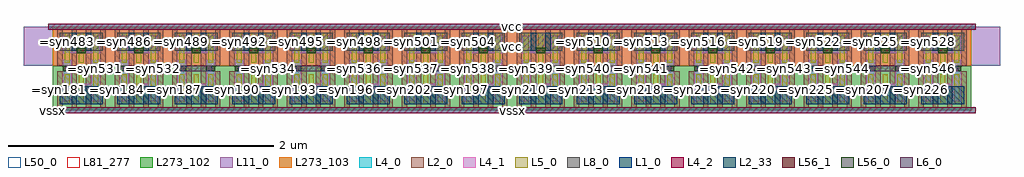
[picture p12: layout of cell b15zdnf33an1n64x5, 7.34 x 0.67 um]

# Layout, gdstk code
import gdstk
lib = gdstk.Library(unit=1e-6, precision=5e-10)
def R(c, l, rs):  # rectangles x0, y0, x1, y1
    for r in rs: c.add(gdstk.rectangle(r[:2], r[2:], *l))
def A(c, l, x, y, w, h, nx, ny, dx, dy):  # array of equal rectangles
    R(c, l, [(x+i*dx, y+j*dy, x+i*dx+w, y+j*dy+h) for i in range(nx) for j in range(ny)])
def P(c, l, *ps):  # polygons
    for p in ps: c.add(gdstk.Polygon(p, *l))
L1_0 = (1, 0)
L2_0 = (2, 0)
L2_33 = (2, 33)
L4_0 = (4, 0)
L4_1 = (4, 1)
L4_2 = (4, 2)
L5_0 = (5, 0)
L6_0 = (6, 0)
L8_0 = (8, 0)
L11_0 = (11, 0)
L50_0 = (50, 0)
L56_0 = (56, 0)
L56_1 = (56, 1)
L81_277 = (81, 277)
L273_102 = (273, 102)
L273_103 = (273, 103)

b15zdnf33an1n64x5 = lib.new_cell('b15zdnf33an1n64x5')
A(b15zdnf33an1n64x5, L1_0, 0.054, 0.045, 0.324, 0.135, 16, 1, 0.432, 0)
R(b15zdnf33an1n64x5, L2_0, [(0.034,0.021,0.074,0.294), (0.142,0.021,0.182,0.609), (0.25,0.021,0.29,0.609), (0.358,0.021,0.398,0.294), (0.466,0.021,0.506,0.294), (0.574,0.021,0.614,0.609), (0.682,0.021,0.722,0.609), (0.79,0.021,0.83,0.294), (0.898,0.021,0.938,0.294), (1.006,0.021,1.046,0.609), (1.114,0.021,1.154,0.609), (1.222,0.021,1.262,0.294), (1.33,0.021,1.37,0.294), (1.438,0.021,1.478,0.609), (1.546,0.021,1.586,0.609), (1.654,0.021,1.694,0.294), (1.762,0.021,1.802,0.294), (1.87,0.021,1.91,0.609), (1.978,0.021,2.018,0.609), (2.086,0.021,2.126,0.294), (2.194,0.021,2.234,0.294), (2.302,0.021,2.342,0.609), (2.41,0.021,2.45,0.609), (2.518,0.021,2.558,0.294), (2.626,0.021,2.666,0.294), (2.734,0.021,2.774,0.609), (2.842,0.021,2.882,0.609), (2.95,0.021,2.99,0.294), (3.058,0.021,3.098,0.294), (3.166,0.021,3.206,0.609), (3.274,0.021,3.314,0.609), (3.382,0.021,3.422,0.294), (3.49,0.021,3.53,0.294), (3.598,0.021,3.638,0.609), (3.706,0.021,3.746,0.609), (3.814,0.021,3.854,0.294), (3.922,0.021,3.962,0.294), (4.03,0.021,4.07,0.609), (4.138,0.021,4.178,0.609), (4.246,0.021,4.286,0.294), (4.354,0.021,4.394,0.294), (4.462,0.021,4.502,0.609), (4.57,0.021,4.61,0.609), (4.678,0.021,4.718,0.294), (4.786,0.021,4.826,0.294), (4.894,0.021,4.934,0.609), (5.002,0.021,5.042,0.609), (5.11,0.021,5.15,0.294), (5.218,0.021,5.258,0.294), (5.326,0.021,5.366,0.609), (5.434,0.021,5.474,0.609), (5.542,0.021,5.582,0.294), (5.65,0.021,5.69,0.294), (5.758,0.021,5.798,0.609), (5.866,0.021,5.906,0.609), (5.974,0.021,6.014,0.294), (6.082,0.021,6.122,0.294), (6.19,0.021,6.23,0.609), (6.298,0.021,6.338,0.609), (6.406,0.021,6.446,0.294), (6.514,0.021,6.554,0.294), (6.622,0.021,6.662,0.609), (6.73,0.021,6.77,0.609), (6.838,0.021,6.878,0.294), (0.034,0.336,0.074,0.609), (0.358,0.336,0.398,0.609), (0.466,0.336,0.506,0.609), (0.79,0.336,0.83,0.609), (0.898,0.336,0.938,0.609), (1.222,0.336,1.262,0.609), (1.33,0.336,1.37,0.609), (1.654,0.336,1.694,0.609), (1.762,0.336,1.802,0.609), (2.086,0.336,2.126,0.609), (2.194,0.336,2.234,0.609), (2.518,0.336,2.558,0.609), (2.626,0.336,2.666,0.609), (2.95,0.336,2.99,0.609), (3.058,0.336,3.098,0.609), (3.382,0.336,3.422,0.609), (3.49,0.336,3.53,0.609), (3.814,0.336,3.854,0.609), (3.922,0.336,3.962,0.609), (4.246,0.336,4.286,0.609), (4.354,0.336,4.394,0.609), (4.678,0.336,4.718,0.609), (4.786,0.336,4.826,0.609), (5.11,0.336,5.15,0.609), (5.218,0.336,5.258,0.609), (5.542,0.336,5.582,0.609), (5.65,0.336,5.69,0.609), (5.974,0.336,6.014,0.609), (6.082,0.336,6.122,0.609), (6.406,0.336,6.446,0.609), (6.514,0.336,6.554,0.609), (6.838,0.336,6.878,0.609)])
R(b15zdnf33an1n64x5, L2_33, [(0.142,0.045,0.182,0.18), (0.25,0.045,0.29,0.18), (0.574,0.045,0.614,0.18), (0.682,0.045,0.722,0.18), (1.006,0.045,1.046,0.18), (1.114,0.045,1.154,0.18), (1.438,0.045,1.478,0.18), (1.546,0.045,1.586,0.18), (1.87,0.045,1.91,0.18), (1.978,0.045,2.018,0.18), (2.302,0.045,2.342,0.18), (2.41,0.045,2.45,0.18), (2.734,0.045,2.774,0.18), (2.842,0.045,2.882,0.18), (3.166,0.045,3.206,0.18), (3.274,0.045,3.314,0.18), (3.598,0.045,3.638,0.18), (3.706,0.045,3.746,0.18), (4.03,0.045,4.07,0.18), (4.138,0.045,4.178,0.18), (4.462,0.045,4.502,0.18), (4.57,0.045,4.61,0.18), (4.894,0.045,4.934,0.18), (5.002,0.045,5.042,0.18), (5.326,0.045,5.366,0.18), (5.434,0.045,5.474,0.18), (5.758,0.045,5.798,0.18), (5.866,0.045,5.906,0.18), (6.19,0.045,6.23,0.18), (6.298,0.045,6.338,0.18), (6.622,0.045,6.662,0.18), (6.73,0.045,6.77,0.18), (0.142,0.45,0.182,0.585), (0.25,0.45,0.29,0.585), (0.574,0.45,0.614,0.585), (0.682,0.45,0.722,0.585), (1.006,0.45,1.046,0.585), (1.114,0.45,1.154,0.585), (1.438,0.45,1.478,0.585), (1.546,0.45,1.586,0.585), (1.87,0.45,1.91,0.585), (1.978,0.45,2.018,0.585), (2.302,0.45,2.342,0.585), (2.41,0.45,2.45,0.585), (2.734,0.45,2.774,0.585), (2.842,0.45,2.882,0.585), (3.166,0.45,3.206,0.585), (3.274,0.45,3.314,0.585), (3.598,0.45,3.638,0.585), (3.706,0.45,3.746,0.585), (4.03,0.45,4.07,0.585), (4.138,0.45,4.178,0.585), (4.462,0.45,4.502,0.585), (4.57,0.45,4.61,0.585), (4.894,0.45,4.934,0.585), (5.002,0.45,5.042,0.585), (5.326,0.45,5.366,0.585), (5.434,0.45,5.474,0.585), (5.758,0.45,5.798,0.585), (5.866,0.45,5.906,0.585), (6.19,0.45,6.23,0.585), (6.298,0.45,6.338,0.585), (6.622,0.45,6.662,0.585), (6.73,0.45,6.77,0.585)])
R(b15zdnf33an1n64x5, L4_0, [(-0.034,-0.022,6.946,0.022), (-0.034,0.608,6.946,0.652)])
P(b15zdnf33an1n64x5, L4_0, [(0.358,0.428),(0.074,0.428),(0.074,0.562),(0.142,0.562),(0.142,0.472),(0.29,0.472),(0.29,0.562),(0.358,0.562)],
  [(0.358,0.068),(0.29,0.068),(0.29,0.158),(0.142,0.158),(0.142,0.068),(0.074,0.068),(0.074,0.382),(0.142,0.382),(0.142,0.202),(0.29,0.202),(0.29,0.382),(0.358,0.382)],
  [(0.79,0.428),(0.506,0.428),(0.506,0.562),(0.574,0.562),(0.574,0.472),(0.722,0.472),(0.722,0.562),(0.79,0.562)],
  [(0.79,0.068),(0.722,0.068),(0.722,0.158),(0.574,0.158),(0.574,0.068),(0.506,0.068),(0.506,0.382),(0.574,0.382),(0.574,0.202),(0.722,0.202),(0.722,0.382),(0.79,0.382)],
  [(1.222,0.428),(0.938,0.428),(0.938,0.562),(1.006,0.562),(1.006,0.472),(1.154,0.472),(1.154,0.562),(1.222,0.562)],
  [(1.222,0.068),(1.154,0.068),(1.154,0.158),(1.006,0.158),(1.006,0.068),(0.938,0.068),(0.938,0.382),(1.006,0.382),(1.006,0.202),(1.154,0.202),(1.154,0.382),(1.222,0.382)],
  [(1.654,0.428),(1.37,0.428),(1.37,0.562),(1.438,0.562),(1.438,0.472),(1.586,0.472),(1.586,0.562),(1.654,0.562)],
  [(1.654,0.068),(1.586,0.068),(1.586,0.158),(1.438,0.158),(1.438,0.068),(1.37,0.068),(1.37,0.382),(1.438,0.382),(1.438,0.202),(1.586,0.202),(1.586,0.382),(1.654,0.382)],
  [(2.086,0.428),(1.802,0.428),(1.802,0.562),(1.87,0.562),(1.87,0.472),(2.018,0.472),(2.018,0.562),(2.086,0.562)],
  [(2.086,0.068),(2.018,0.068),(2.018,0.158),(1.87,0.158),(1.87,0.068),(1.802,0.068),(1.802,0.382),(1.87,0.382),(1.87,0.202),(2.018,0.202),(2.018,0.382),(2.086,0.382)],
  [(2.518,0.428),(2.234,0.428),(2.234,0.562),(2.302,0.562),(2.302,0.472),(2.45,0.472),(2.45,0.562),(2.518,0.562)],
  [(2.518,0.068),(2.45,0.068),(2.45,0.158),(2.302,0.158),(2.302,0.068),(2.234,0.068),(2.234,0.382),(2.302,0.382),(2.302,0.202),(2.45,0.202),(2.45,0.382),(2.518,0.382)],
  [(2.95,0.428),(2.666,0.428),(2.666,0.562),(2.734,0.562),(2.734,0.472),(2.882,0.472),(2.882,0.562),(2.95,0.562)],
  [(2.95,0.068),(2.882,0.068),(2.882,0.158),(2.734,0.158),(2.734,0.068),(2.666,0.068),(2.666,0.382),(2.734,0.382),(2.734,0.202),(2.882,0.202),(2.882,0.382),(2.95,0.382)],
  [(3.382,0.428),(3.098,0.428),(3.098,0.562),(3.166,0.562),(3.166,0.472),(3.314,0.472),(3.314,0.562),(3.382,0.562)],
  [(3.382,0.068),(3.314,0.068),(3.314,0.158),(3.166,0.158),(3.166,0.068),(3.098,0.068),(3.098,0.382),(3.166,0.382),(3.166,0.202),(3.314,0.202),(3.314,0.382),(3.382,0.382)],
  [(3.814,0.428),(3.53,0.428),(3.53,0.562),(3.598,0.562),(3.598,0.472),(3.746,0.472),(3.746,0.562),(3.814,0.562)],
  [(3.814,0.068),(3.746,0.068),(3.746,0.158),(3.598,0.158),(3.598,0.068),(3.53,0.068),(3.53,0.382),(3.598,0.382),(3.598,0.202),(3.746,0.202),(3.746,0.382),(3.814,0.382)],
  [(4.246,0.428),(3.962,0.428),(3.962,0.562),(4.03,0.562),(4.03,0.472),(4.178,0.472),(4.178,0.562),(4.246,0.562)],
  [(4.246,0.068),(4.178,0.068),(4.178,0.158),(4.03,0.158),(4.03,0.068),(3.962,0.068),(3.962,0.382),(4.03,0.382),(4.03,0.202),(4.178,0.202),(4.178,0.382),(4.246,0.382)],
  [(4.678,0.428),(4.394,0.428),(4.394,0.562),(4.462,0.562),(4.462,0.472),(4.61,0.472),(4.61,0.562),(4.678,0.562)],
  [(4.678,0.068),(4.61,0.068),(4.61,0.158),(4.462,0.158),(4.462,0.068),(4.394,0.068),(4.394,0.382),(4.462,0.382),(4.462,0.202),(4.61,0.202),(4.61,0.382),(4.678,0.382)],
  [(5.11,0.428),(4.826,0.428),(4.826,0.562),(4.894,0.562),(4.894,0.472),(5.042,0.472),(5.042,0.562),(5.11,0.562)],
  [(5.11,0.068),(5.042,0.068),(5.042,0.158),(4.894,0.158),(4.894,0.068),(4.826,0.068),(4.826,0.382),(4.894,0.382),(4.894,0.202),(5.042,0.202),(5.042,0.382),(5.11,0.382)],
  [(5.542,0.428),(5.258,0.428),(5.258,0.562),(5.326,0.562),(5.326,0.472),(5.474,0.472),(5.474,0.562),(5.542,0.562)],
  [(5.542,0.068),(5.474,0.068),(5.474,0.158),(5.326,0.158),(5.326,0.068),(5.258,0.068),(5.258,0.382),(5.326,0.382),(5.326,0.202),(5.474,0.202),(5.474,0.382),(5.542,0.382)],
  [(5.974,0.428),(5.69,0.428),(5.69,0.562),(5.758,0.562),(5.758,0.472),(5.906,0.472),(5.906,0.562),(5.974,0.562)],
  [(5.974,0.068),(5.906,0.068),(5.906,0.158),(5.758,0.158),(5.758,0.068),(5.69,0.068),(5.69,0.382),(5.758,0.382),(5.758,0.202),(5.906,0.202),(5.906,0.382),(5.974,0.382)],
  [(6.406,0.428),(6.122,0.428),(6.122,0.562),(6.19,0.562),(6.19,0.472),(6.338,0.472),(6.338,0.562),(6.406,0.562)],
  [(6.406,0.068),(6.338,0.068),(6.338,0.158),(6.19,0.158),(6.19,0.068),(6.122,0.068),(6.122,0.382),(6.19,0.382),(6.19,0.202),(6.338,0.202),(6.338,0.382),(6.406,0.382)],
  [(6.838,0.428),(6.554,0.428),(6.554,0.562),(6.622,0.562),(6.622,0.472),(6.77,0.472),(6.77,0.562),(6.838,0.562)],
  [(6.838,0.068),(6.77,0.068),(6.77,0.158),(6.622,0.158),(6.622,0.068),(6.554,0.068),(6.554,0.382),(6.622,0.382),(6.622,0.202),(6.77,0.202),(6.77,0.382),(6.838,0.382)])
P(b15zdnf33an1n64x5, L4_1, [(0.358,0.428),(0.074,0.428),(0.074,0.562),(0.142,0.562),(0.142,0.472),(0.29,0.472),(0.29,0.562),(0.358,0.562)],
  [(0.358,0.068),(0.29,0.068),(0.29,0.158),(0.142,0.158),(0.142,0.068),(0.074,0.068),(0.074,0.382),(0.142,0.382),(0.142,0.202),(0.29,0.202),(0.29,0.382),(0.358,0.382)],
  [(0.79,0.428),(0.506,0.428),(0.506,0.562),(0.574,0.562),(0.574,0.472),(0.722,0.472),(0.722,0.562),(0.79,0.562)],
  [(0.79,0.068),(0.722,0.068),(0.722,0.158),(0.574,0.158),(0.574,0.068),(0.506,0.068),(0.506,0.382),(0.574,0.382),(0.574,0.202),(0.722,0.202),(0.722,0.382),(0.79,0.382)],
  [(1.222,0.428),(0.938,0.428),(0.938,0.562),(1.006,0.562),(1.006,0.472),(1.154,0.472),(1.154,0.562),(1.222,0.562)],
  [(1.222,0.068),(1.154,0.068),(1.154,0.158),(1.006,0.158),(1.006,0.068),(0.938,0.068),(0.938,0.382),(1.006,0.382),(1.006,0.202),(1.154,0.202),(1.154,0.382),(1.222,0.382)],
  [(1.654,0.428),(1.37,0.428),(1.37,0.562),(1.438,0.562),(1.438,0.472),(1.586,0.472),(1.586,0.562),(1.654,0.562)],
  [(1.654,0.068),(1.586,0.068),(1.586,0.158),(1.438,0.158),(1.438,0.068),(1.37,0.068),(1.37,0.382),(1.438,0.382),(1.438,0.202),(1.586,0.202),(1.586,0.382),(1.654,0.382)],
  [(2.086,0.428),(1.802,0.428),(1.802,0.562),(1.87,0.562),(1.87,0.472),(2.018,0.472),(2.018,0.562),(2.086,0.562)],
  [(2.086,0.068),(2.018,0.068),(2.018,0.158),(1.87,0.158),(1.87,0.068),(1.802,0.068),(1.802,0.382),(1.87,0.382),(1.87,0.202),(2.018,0.202),(2.018,0.382),(2.086,0.382)],
  [(2.518,0.428),(2.234,0.428),(2.234,0.562),(2.302,0.562),(2.302,0.472),(2.45,0.472),(2.45,0.562),(2.518,0.562)],
  [(2.518,0.068),(2.45,0.068),(2.45,0.158),(2.302,0.158),(2.302,0.068),(2.234,0.068),(2.234,0.382),(2.302,0.382),(2.302,0.202),(2.45,0.202),(2.45,0.382),(2.518,0.382)],
  [(2.95,0.428),(2.666,0.428),(2.666,0.562),(2.734,0.562),(2.734,0.472),(2.882,0.472),(2.882,0.562),(2.95,0.562)],
  [(2.95,0.068),(2.882,0.068),(2.882,0.158),(2.734,0.158),(2.734,0.068),(2.666,0.068),(2.666,0.382),(2.734,0.382),(2.734,0.202),(2.882,0.202),(2.882,0.382),(2.95,0.382)],
  [(3.382,0.428),(3.098,0.428),(3.098,0.562),(3.166,0.562),(3.166,0.472),(3.314,0.472),(3.314,0.562),(3.382,0.562)],
  [(3.382,0.068),(3.314,0.068),(3.314,0.158),(3.166,0.158),(3.166,0.068),(3.098,0.068),(3.098,0.382),(3.166,0.382),(3.166,0.202),(3.314,0.202),(3.314,0.382),(3.382,0.382)],
  [(3.814,0.428),(3.53,0.428),(3.53,0.562),(3.598,0.562),(3.598,0.472),(3.746,0.472),(3.746,0.562),(3.814,0.562)],
  [(3.814,0.068),(3.746,0.068),(3.746,0.158),(3.598,0.158),(3.598,0.068),(3.53,0.068),(3.53,0.382),(3.598,0.382),(3.598,0.202),(3.746,0.202),(3.746,0.382),(3.814,0.382)],
  [(4.246,0.428),(3.962,0.428),(3.962,0.562),(4.03,0.562),(4.03,0.472),(4.178,0.472),(4.178,0.562),(4.246,0.562)],
  [(4.246,0.068),(4.178,0.068),(4.178,0.158),(4.03,0.158),(4.03,0.068),(3.962,0.068),(3.962,0.382),(4.03,0.382),(4.03,0.202),(4.178,0.202),(4.178,0.382),(4.246,0.382)],
  [(4.678,0.428),(4.394,0.428),(4.394,0.562),(4.462,0.562),(4.462,0.472),(4.61,0.472),(4.61,0.562),(4.678,0.562)],
  [(4.678,0.068),(4.61,0.068),(4.61,0.158),(4.462,0.158),(4.462,0.068),(4.394,0.068),(4.394,0.382),(4.462,0.382),(4.462,0.202),(4.61,0.202),(4.61,0.382),(4.678,0.382)],
  [(5.11,0.428),(4.826,0.428),(4.826,0.562),(4.894,0.562),(4.894,0.472),(5.042,0.472),(5.042,0.562),(5.11,0.562)],
  [(5.11,0.068),(5.042,0.068),(5.042,0.158),(4.894,0.158),(4.894,0.068),(4.826,0.068),(4.826,0.382),(4.894,0.382),(4.894,0.202),(5.042,0.202),(5.042,0.382),(5.11,0.382)],
  [(5.542,0.428),(5.258,0.428),(5.258,0.562),(5.326,0.562),(5.326,0.472),(5.474,0.472),(5.474,0.562),(5.542,0.562)],
  [(5.542,0.068),(5.474,0.068),(5.474,0.158),(5.326,0.158),(5.326,0.068),(5.258,0.068),(5.258,0.382),(5.326,0.382),(5.326,0.202),(5.474,0.202),(5.474,0.382),(5.542,0.382)],
  [(5.974,0.428),(5.69,0.428),(5.69,0.562),(5.758,0.562),(5.758,0.472),(5.906,0.472),(5.906,0.562),(5.974,0.562)],
  [(5.974,0.068),(5.906,0.068),(5.906,0.158),(5.758,0.158),(5.758,0.068),(5.69,0.068),(5.69,0.382),(5.758,0.382),(5.758,0.202),(5.906,0.202),(5.906,0.382),(5.974,0.382)],
  [(6.406,0.428),(6.122,0.428),(6.122,0.562),(6.19,0.562),(6.19,0.472),(6.338,0.472),(6.338,0.562),(6.406,0.562)],
  [(6.406,0.068),(6.338,0.068),(6.338,0.158),(6.19,0.158),(6.19,0.068),(6.122,0.068),(6.122,0.382),(6.19,0.382),(6.19,0.202),(6.338,0.202),(6.338,0.382),(6.406,0.382)],
  [(6.838,0.428),(6.554,0.428),(6.554,0.562),(6.622,0.562),(6.622,0.472),(6.77,0.472),(6.77,0.562),(6.838,0.562)],
  [(6.838,0.068),(6.77,0.068),(6.77,0.158),(6.622,0.158),(6.622,0.068),(6.554,0.068),(6.554,0.382),(6.622,0.382),(6.622,0.202),(6.77,0.202),(6.77,0.382),(6.838,0.382)])
R(b15zdnf33an1n64x5, L4_2, [(-0.034,-0.022,6.946,0.022), (-0.034,0.608,6.946,0.652)])
A(b15zdnf33an1n64x5, L5_0, 0.089, 0.045, 0.038, 0.225, 3, 2, 0.108, 0.315)
A(b15zdnf33an1n64x5, L5_0, 0.521, 0.045, 0.038, 0.225, 3, 2, 0.108, 0.315)
A(b15zdnf33an1n64x5, L5_0, 0.953, 0.045, 0.038, 0.225, 3, 2, 0.108, 0.315)
A(b15zdnf33an1n64x5, L5_0, 1.385, 0.045, 0.038, 0.225, 3, 2, 0.108, 0.315)
A(b15zdnf33an1n64x5, L5_0, 1.817, 0.045, 0.038, 0.225, 3, 2, 0.108, 0.315)
A(b15zdnf33an1n64x5, L5_0, 2.249, 0.045, 0.038, 0.225, 3, 2, 0.108, 0.315)
A(b15zdnf33an1n64x5, L5_0, 2.681, 0.045, 0.038, 0.225, 3, 2, 0.108, 0.315)
A(b15zdnf33an1n64x5, L5_0, 3.113, 0.045, 0.038, 0.225, 3, 2, 0.108, 0.315)
A(b15zdnf33an1n64x5, L5_0, 3.545, 0.045, 0.038, 0.225, 3, 2, 0.108, 0.315)
A(b15zdnf33an1n64x5, L5_0, 3.977, 0.045, 0.038, 0.225, 3, 2, 0.108, 0.315)
A(b15zdnf33an1n64x5, L5_0, 4.409, 0.045, 0.038, 0.225, 3, 2, 0.108, 0.315)
A(b15zdnf33an1n64x5, L5_0, 4.841, 0.045, 0.038, 0.225, 3, 2, 0.108, 0.315)
A(b15zdnf33an1n64x5, L5_0, 5.273, 0.045, 0.038, 0.225, 3, 2, 0.108, 0.315)
A(b15zdnf33an1n64x5, L5_0, 5.705, 0.045, 0.038, 0.225, 3, 2, 0.108, 0.315)
A(b15zdnf33an1n64x5, L5_0, 6.137, 0.045, 0.038, 0.225, 3, 2, 0.108, 0.315)
A(b15zdnf33an1n64x5, L5_0, 6.569, 0.045, 0.038, 0.225, 3, 2, 0.108, 0.315)
A(b15zdnf33an1n64x5, L6_0, 0.099, 0.296, 0.234, 0.038, 16, 1, 0.432, 0)
A(b15zdnf33an1n64x5, L8_0, 0.054, 0.45, 0.324, 0.135, 16, 1, 0.432, 0)
R(b15zdnf33an1n64x5, L11_0, [(-0.216,0.3375,7.128,0.63)])
R(b15zdnf33an1n64x5, L50_0, [(0,0,6.912,0.63)])
A(b15zdnf33an1n64x5, L56_0, 0.074, 0.293, 0.068, 0.044, 32, 1, 0.216, 0)
A(b15zdnf33an1n64x5, L56_0, 0.182, 0.428, 0.068, 0.044, 16, 1, 0.432, 0)
A(b15zdnf33an1n64x5, L56_1, 0.074, 0.293, 0.068, 0.044, 32, 1, 0.216, 0)
A(b15zdnf33an1n64x5, L56_1, 0.182, 0.428, 0.068, 0.044, 16, 1, 0.432, 0)
R(b15zdnf33an1n64x5, L81_277, [(0,0,6.912,0.63)])
R(b15zdnf33an1n64x5, L273_102, [(0,0,6.912,0.3375)])
R(b15zdnf33an1n64x5, L273_103, [(0,0.3375,6.912,0.63)])
b15zdnf33an1n64x5.add(gdstk.Label('vssx', (0,0), layer=81, texttype=6))
b15zdnf33an1n64x5.add(gdstk.Label('vcc', (3.456,0.484), layer=11, texttype=0))
b15zdnf33an1n64x5.add(gdstk.Label('=syn483', (0.108,0.5175), layer=8, texttype=0))
b15zdnf33an1n64x5.add(gdstk.Label('=syn486', (0.54,0.5175), layer=8, texttype=0))
b15zdnf33an1n64x5.add(gdstk.Label('=syn489', (0.972,0.5175), layer=8, texttype=0))
b15zdnf33an1n64x5.add(gdstk.Label('=syn492', (1.404,0.5175), layer=8, texttype=0))
b15zdnf33an1n64x5.add(gdstk.Label('=syn495', (1.836,0.5175), layer=8, texttype=0))
b15zdnf33an1n64x5.add(gdstk.Label('=syn498', (2.268,0.5175), layer=8, texttype=0))
b15zdnf33an1n64x5.add(gdstk.Label('=syn501', (2.7,0.5175), layer=8, texttype=0))
b15zdnf33an1n64x5.add(gdstk.Label('=syn504', (3.132,0.5175), layer=8, texttype=0))
b15zdnf33an1n64x5.add(gdstk.Label('=syn507', (3.564,0.5175), layer=8, texttype=0))
b15zdnf33an1n64x5.add(gdstk.Label('=syn510', (3.996,0.5175), layer=8, texttype=0))
b15zdnf33an1n64x5.add(gdstk.Label('=syn513', (4.428,0.5175), layer=8, texttype=0))
b15zdnf33an1n64x5.add(gdstk.Label('=syn516', (4.86,0.5175), layer=8, texttype=0))
b15zdnf33an1n64x5.add(gdstk.Label('=syn519', (5.292,0.5175), layer=8, texttype=0))
b15zdnf33an1n64x5.add(gdstk.Label('=syn522', (5.724,0.5175), layer=8, texttype=0))
b15zdnf33an1n64x5.add(gdstk.Label('=syn525', (6.156,0.5175), layer=8, texttype=0))
b15zdnf33an1n64x5.add(gdstk.Label('=syn528', (6.588,0.5175), layer=8, texttype=0))
b15zdnf33an1n64x5.add(gdstk.Label('=syn484', (0.27,0.45), layer=4, texttype=0))
b15zdnf33an1n64x5.add(gdstk.Label('=syn531', (0.324,0.315), layer=4, texttype=0))
b15zdnf33an1n64x5.add(gdstk.Label('=syn487', (0.648,0.45), layer=4, texttype=0))
b15zdnf33an1n64x5.add(gdstk.Label('=syn532', (0.756,0.315), layer=4, texttype=0))
b15zdnf33an1n64x5.add(gdstk.Label('=syn490', (1.08,0.45), layer=4, texttype=0))
b15zdnf33an1n64x5.add(gdstk.Label('=syn533', (0.972,0.315), layer=4, texttype=0))
b15zdnf33an1n64x5.add(gdstk.Label('=syn493', (1.512,0.45), layer=4, texttype=0))
b15zdnf33an1n64x5.add(gdstk.Label('=syn534', (1.62,0.315), layer=4, texttype=0))
b15zdnf33an1n64x5.add(gdstk.Label('=syn496', (1.89,0.45), layer=4, texttype=0))
b15zdnf33an1n64x5.add(gdstk.Label('=syn535', (1.836,0.315), layer=4, texttype=0))
b15zdnf33an1n64x5.add(gdstk.Label('=syn499', (2.376,0.45), layer=4, texttype=0))
b15zdnf33an1n64x5.add(gdstk.Label('=syn536', (2.268,0.315), layer=4, texttype=0))
b15zdnf33an1n64x5.add(gdstk.Label('=syn502', (2.916,0.495), layer=4, texttype=0))
b15zdnf33an1n64x5.add(gdstk.Label('=syn537', (2.7,0.315), layer=4, texttype=0))
b15zdnf33an1n64x5.add(gdstk.Label('=syn505', (3.24,0.45), layer=4, texttype=0))
b15zdnf33an1n64x5.add(gdstk.Label('=syn538', (3.132,0.315), layer=4, texttype=0))
b15zdnf33an1n64x5.add(gdstk.Label('=syn508', (3.672,0.45), layer=4, texttype=0))
b15zdnf33an1n64x5.add(gdstk.Label('=syn539', (3.564,0.315), layer=4, texttype=0))
b15zdnf33an1n64x5.add(gdstk.Label('=syn511', (3.996,0.495), layer=4, texttype=0))
b15zdnf33an1n64x5.add(gdstk.Label('=syn540', (3.996,0.315), layer=4, texttype=0))
b15zdnf33an1n64x5.add(gdstk.Label('=syn514', (4.536,0.45), layer=4, texttype=0))
b15zdnf33an1n64x5.add(gdstk.Label('=syn541', (4.428,0.315), layer=4, texttype=0))
b15zdnf33an1n64x5.add(gdstk.Label('=syn517', (5.022,0.45), layer=4, texttype=0))
b15zdnf33an1n64x5.add(gdstk.Label('=syn542', (5.076,0.315), layer=4, texttype=0))
b15zdnf33an1n64x5.add(gdstk.Label('=syn520', (5.4,0.45), layer=4, texttype=0))
b15zdnf33an1n64x5.add(gdstk.Label('=syn543', (5.508,0.315), layer=4, texttype=0))
b15zdnf33an1n64x5.add(gdstk.Label('=syn523', (5.832,0.45), layer=4, texttype=0))
b15zdnf33an1n64x5.add(gdstk.Label('=syn544', (5.94,0.315), layer=4, texttype=0))
b15zdnf33an1n64x5.add(gdstk.Label('=syn526', (6.264,0.45), layer=4, texttype=0))
b15zdnf33an1n64x5.add(gdstk.Label('=syn545', (6.156,0.315), layer=4, texttype=0))
b15zdnf33an1n64x5.add(gdstk.Label('=syn529', (6.642,0.45), layer=4, texttype=0))
b15zdnf33an1n64x5.add(gdstk.Label('=syn546', (6.588,0.315), layer=4, texttype=0))
b15zdnf33an1n64x5.add(gdstk.Label('vcc', (3.456,0.63), layer=4, texttype=0))
b15zdnf33an1n64x5.add(gdstk.Label('vssx', (3.456,0), layer=4, texttype=0))
b15zdnf33an1n64x5.add(gdstk.Label('vcc', (3.456,0.63), layer=4, texttype=2))
b15zdnf33an1n64x5.add(gdstk.Label('vssx', (3.456,0), layer=4, texttype=2))
b15zdnf33an1n64x5.add(gdstk.Label('=syn182', (0.054,0.4725), layer=2, texttype=0))
b15zdnf33an1n64x5.add(gdstk.Label('=syn181', (0.054,0.1575), layer=2, texttype=0))
b15zdnf33an1n64x5.add(gdstk.Label('=syn531', (0.162,0.5175), layer=2, texttype=0))
b15zdnf33an1n64x5.add(gdstk.Label('=syn531', (0.27,0.5175), layer=2, texttype=0))
b15zdnf33an1n64x5.add(gdstk.Label('=syn458', (0.378,0.4725), layer=2, texttype=0))
b15zdnf33an1n64x5.add(gdstk.Label('=syn456', (0.378,0.1575), layer=2, texttype=0))
b15zdnf33an1n64x5.add(gdstk.Label('=syn185', (0.486,0.4725), layer=2, texttype=0))
b15zdnf33an1n64x5.add(gdstk.Label('=syn184', (0.486,0.1575), layer=2, texttype=0))
b15zdnf33an1n64x5.add(gdstk.Label('=syn532', (0.594,0.5175), layer=2, texttype=0))
b15zdnf33an1n64x5.add(gdstk.Label('=syn532', (0.702,0.5175), layer=2, texttype=0))
b15zdnf33an1n64x5.add(gdstk.Label('=syn464', (0.81,0.4725), layer=2, texttype=0))
b15zdnf33an1n64x5.add(gdstk.Label('=syn463', (0.81,0.1575), layer=2, texttype=0))
b15zdnf33an1n64x5.add(gdstk.Label('=syn188', (0.918,0.4725), layer=2, texttype=0))
b15zdnf33an1n64x5.add(gdstk.Label('=syn187', (0.918,0.1575), layer=2, texttype=0))
b15zdnf33an1n64x5.add(gdstk.Label('=syn533', (1.026,0.5175), layer=2, texttype=0))
b15zdnf33an1n64x5.add(gdstk.Label('=syn533', (1.134,0.5175), layer=2, texttype=0))
b15zdnf33an1n64x5.add(gdstk.Label('=syn473', (1.242,0.4725), layer=2, texttype=0))
b15zdnf33an1n64x5.add(gdstk.Label('=syn469', (1.242,0.1575), layer=2, texttype=0))
b15zdnf33an1n64x5.add(gdstk.Label('=syn191', (1.35,0.4725), layer=2, texttype=0))
b15zdnf33an1n64x5.add(gdstk.Label('=syn190', (1.35,0.1575), layer=2, texttype=0))
b15zdnf33an1n64x5.add(gdstk.Label('=syn534', (1.458,0.5175), layer=2, texttype=0))
b15zdnf33an1n64x5.add(gdstk.Label('=syn534', (1.566,0.5175), layer=2, texttype=0))
b15zdnf33an1n64x5.add(gdstk.Label('=syn468', (1.674,0.4725), layer=2, texttype=0))
b15zdnf33an1n64x5.add(gdstk.Label('=syn465', (1.674,0.1575), layer=2, texttype=0))
b15zdnf33an1n64x5.add(gdstk.Label('=syn194', (1.782,0.4725), layer=2, texttype=0))
b15zdnf33an1n64x5.add(gdstk.Label('=syn193', (1.782,0.1575), layer=2, texttype=0))
b15zdnf33an1n64x5.add(gdstk.Label('=syn535', (1.89,0.5175), layer=2, texttype=0))
b15zdnf33an1n64x5.add(gdstk.Label('=syn535', (1.998,0.5175), layer=2, texttype=0))
b15zdnf33an1n64x5.add(gdstk.Label('=syn474', (2.106,0.4725), layer=2, texttype=0))
b15zdnf33an1n64x5.add(gdstk.Label('=syn472', (2.106,0.1575), layer=2, texttype=0))
b15zdnf33an1n64x5.add(gdstk.Label('=syn198', (2.214,0.4725), layer=2, texttype=0))
b15zdnf33an1n64x5.add(gdstk.Label('=syn196', (2.214,0.1575), layer=2, texttype=0))
b15zdnf33an1n64x5.add(gdstk.Label('=syn536', (2.322,0.5175), layer=2, texttype=0))
b15zdnf33an1n64x5.add(gdstk.Label('=syn536', (2.43,0.5175), layer=2, texttype=0))
b15zdnf33an1n64x5.add(gdstk.Label('=syn481', (2.538,0.4725), layer=2, texttype=0))
b15zdnf33an1n64x5.add(gdstk.Label('=syn479', (2.538,0.1575), layer=2, texttype=0))
b15zdnf33an1n64x5.add(gdstk.Label('=syn203', (2.646,0.4725), layer=2, texttype=0))
b15zdnf33an1n64x5.add(gdstk.Label('=syn202', (2.646,0.1575), layer=2, texttype=0))
b15zdnf33an1n64x5.add(gdstk.Label('=syn537', (2.754,0.5175), layer=2, texttype=0))
b15zdnf33an1n64x5.add(gdstk.Label('=syn537', (2.862,0.5175), layer=2, texttype=0))
b15zdnf33an1n64x5.add(gdstk.Label('=syn424', (2.97,0.4725), layer=2, texttype=0))
b15zdnf33an1n64x5.add(gdstk.Label('=syn423', (2.97,0.1575), layer=2, texttype=0))
b15zdnf33an1n64x5.add(gdstk.Label('=syn199', (3.078,0.4725), layer=2, texttype=0))
b15zdnf33an1n64x5.add(gdstk.Label('=syn197', (3.078,0.1575), layer=2, texttype=0))
b15zdnf33an1n64x5.add(gdstk.Label('=syn538', (3.186,0.5175), layer=2, texttype=0))
b15zdnf33an1n64x5.add(gdstk.Label('=syn538', (3.294,0.5175), layer=2, texttype=0))
b15zdnf33an1n64x5.add(gdstk.Label('=syn482', (3.402,0.4725), layer=2, texttype=0))
b15zdnf33an1n64x5.add(gdstk.Label('=syn480', (3.402,0.1575), layer=2, texttype=0))
b15zdnf33an1n64x5.add(gdstk.Label('=syn211', (3.51,0.4725), layer=2, texttype=0))
b15zdnf33an1n64x5.add(gdstk.Label('=syn210', (3.51,0.1575), layer=2, texttype=0))
b15zdnf33an1n64x5.add(gdstk.Label('=syn539', (3.618,0.5175), layer=2, texttype=0))
b15zdnf33an1n64x5.add(gdstk.Label('=syn539', (3.726,0.5175), layer=2, texttype=0))
b15zdnf33an1n64x5.add(gdstk.Label('=syn432', (3.834,0.4725), layer=2, texttype=0))
b15zdnf33an1n64x5.add(gdstk.Label('=syn429', (3.834,0.1575), layer=2, texttype=0))
b15zdnf33an1n64x5.add(gdstk.Label('=syn214', (3.942,0.4725), layer=2, texttype=0))
b15zdnf33an1n64x5.add(gdstk.Label('=syn213', (3.942,0.1575), layer=2, texttype=0))
b15zdnf33an1n64x5.add(gdstk.Label('=syn540', (4.05,0.5175), layer=2, texttype=0))
b15zdnf33an1n64x5.add(gdstk.Label('=syn540', (4.158,0.5175), layer=2, texttype=0))
b15zdnf33an1n64x5.add(gdstk.Label('=syn440', (4.266,0.4725), layer=2, texttype=0))
b15zdnf33an1n64x5.add(gdstk.Label('=syn437', (4.266,0.1575), layer=2, texttype=0))
b15zdnf33an1n64x5.add(gdstk.Label('=syn221', (4.374,0.4725), layer=2, texttype=0))
b15zdnf33an1n64x5.add(gdstk.Label('=syn218', (4.374,0.1575), layer=2, texttype=0))
b15zdnf33an1n64x5.add(gdstk.Label('=syn541', (4.482,0.5175), layer=2, texttype=0))
b15zdnf33an1n64x5.add(gdstk.Label('=syn541', (4.59,0.5175), layer=2, texttype=0))
b15zdnf33an1n64x5.add(gdstk.Label('=syn445', (4.698,0.4725), layer=2, texttype=0))
b15zdnf33an1n64x5.add(gdstk.Label('=syn448', (4.698,0.1575), layer=2, texttype=0))
b15zdnf33an1n64x5.add(gdstk.Label('=syn217', (4.806,0.4725), layer=2, texttype=0))
b15zdnf33an1n64x5.add(gdstk.Label('=syn215', (4.806,0.1575), layer=2, texttype=0))
b15zdnf33an1n64x5.add(gdstk.Label('=syn542', (4.914,0.5175), layer=2, texttype=0))
b15zdnf33an1n64x5.add(gdstk.Label('=syn542', (5.022,0.5175), layer=2, texttype=0))
b15zdnf33an1n64x5.add(gdstk.Label('=syn446', (5.13,0.4725), layer=2, texttype=0))
b15zdnf33an1n64x5.add(gdstk.Label('=syn441', (5.13,0.1575), layer=2, texttype=0))
b15zdnf33an1n64x5.add(gdstk.Label('=syn222', (5.238,0.4725), layer=2, texttype=0))
b15zdnf33an1n64x5.add(gdstk.Label('=syn220', (5.238,0.1575), layer=2, texttype=0))
b15zdnf33an1n64x5.add(gdstk.Label('=syn543', (5.346,0.5175), layer=2, texttype=0))
b15zdnf33an1n64x5.add(gdstk.Label('=syn543', (5.454,0.5175), layer=2, texttype=0))
b15zdnf33an1n64x5.add(gdstk.Label('=syn447', (5.562,0.4725), layer=2, texttype=0))
b15zdnf33an1n64x5.add(gdstk.Label('=syn442', (5.562,0.1575), layer=2, texttype=0))
b15zdnf33an1n64x5.add(gdstk.Label('=syn227', (5.67,0.4725), layer=2, texttype=0))
b15zdnf33an1n64x5.add(gdstk.Label('=syn225', (5.67,0.1575), layer=2, texttype=0))
b15zdnf33an1n64x5.add(gdstk.Label('=syn544', (5.778,0.5175), layer=2, texttype=0))
b15zdnf33an1n64x5.add(gdstk.Label('=syn544', (5.886,0.5175), layer=2, texttype=0))
b15zdnf33an1n64x5.add(gdstk.Label('=syn459', (5.994,0.4725), layer=2, texttype=0))
b15zdnf33an1n64x5.add(gdstk.Label('=syn455', (5.994,0.1575), layer=2, texttype=0))
b15zdnf33an1n64x5.add(gdstk.Label('=syn208', (6.102,0.4725), layer=2, texttype=0))
b15zdnf33an1n64x5.add(gdstk.Label('=syn207', (6.102,0.1575), layer=2, texttype=0))
b15zdnf33an1n64x5.add(gdstk.Label('=syn545', (6.21,0.5175), layer=2, texttype=0))
b15zdnf33an1n64x5.add(gdstk.Label('=syn545', (6.318,0.5175), layer=2, texttype=0))
b15zdnf33an1n64x5.add(gdstk.Label('=syn436', (6.426,0.4725), layer=2, texttype=0))
b15zdnf33an1n64x5.add(gdstk.Label('=syn433', (6.426,0.1575), layer=2, texttype=0))
b15zdnf33an1n64x5.add(gdstk.Label('=syn228', (6.534,0.4725), layer=2, texttype=0))
b15zdnf33an1n64x5.add(gdstk.Label('=syn226', (6.534,0.1575), layer=2, texttype=0))
b15zdnf33an1n64x5.add(gdstk.Label('=syn546', (6.642,0.5175), layer=2, texttype=0))
b15zdnf33an1n64x5.add(gdstk.Label('=syn546', (6.75,0.5175), layer=2, texttype=0))
b15zdnf33an1n64x5.add(gdstk.Label('=syn462', (6.858,0.4725), layer=2, texttype=0))
b15zdnf33an1n64x5.add(gdstk.Label('=syn457', (6.858,0.1575), layer=2, texttype=0))
b15zdnf33an1n64x5.add(gdstk.Label('=syn460', (0.216,0.1125), layer=1, texttype=0))
b15zdnf33an1n64x5.add(gdstk.Label('=syn467', (0.756,0.1125), layer=1, texttype=0))
b15zdnf33an1n64x5.add(gdstk.Label('=syn476', (1.188,0.1125), layer=1, texttype=0))
b15zdnf33an1n64x5.add(gdstk.Label('=syn471', (1.62,0.1125), layer=1, texttype=0))
b15zdnf33an1n64x5.add(gdstk.Label('=syn195', (1.836,0.1125), layer=1, texttype=0))
b15zdnf33an1n64x5.add(gdstk.Label('=syn419', (2.376,0.1125), layer=1, texttype=0))
b15zdnf33an1n64x5.add(gdstk.Label('=syn426', (2.916,0.1125), layer=1, texttype=0))
b15zdnf33an1n64x5.add(gdstk.Label('=syn422', (3.348,0.1125), layer=1, texttype=0))
b15zdnf33an1n64x5.add(gdstk.Label('=syn435', (3.78,0.1125), layer=1, texttype=0))
b15zdnf33an1n64x5.add(gdstk.Label('=syn216', (3.996,0.1125), layer=1, texttype=0))
b15zdnf33an1n64x5.add(gdstk.Label('=syn223', (4.428,0.1125), layer=1, texttype=0))
b15zdnf33an1n64x5.add(gdstk.Label('=syn451', (4.968,0.1125), layer=1, texttype=0))
b15zdnf33an1n64x5.add(gdstk.Label('=syn454', (5.508,0.1125), layer=1, texttype=0))
b15zdnf33an1n64x5.add(gdstk.Label('=syn428', (5.94,0.1125), layer=1, texttype=0))
b15zdnf33an1n64x5.add(gdstk.Label('=syn439', (6.372,0.1125), layer=1, texttype=0))
b15zdnf33an1n64x5.add(gdstk.Label('=syn206', (6.588,0.1125), layer=1, texttype=0))
b15zdnf33an1n64x5.add(gdstk.Label('=syn531', (0.324,0.315), layer=6, texttype=0))
b15zdnf33an1n64x5.add(gdstk.Label('=syn532', (0.756,0.315), layer=6, texttype=0))
b15zdnf33an1n64x5.add(gdstk.Label('=syn533', (0.972,0.315), layer=6, texttype=0))
b15zdnf33an1n64x5.add(gdstk.Label('=syn534', (1.62,0.315), layer=6, texttype=0))
b15zdnf33an1n64x5.add(gdstk.Label('=syn535', (1.836,0.315), layer=6, texttype=0))
b15zdnf33an1n64x5.add(gdstk.Label('=syn536', (2.268,0.315), layer=6, texttype=0))
b15zdnf33an1n64x5.add(gdstk.Label('=syn537', (2.7,0.315), layer=6, texttype=0))
b15zdnf33an1n64x5.add(gdstk.Label('=syn538', (3.132,0.315), layer=6, texttype=0))
b15zdnf33an1n64x5.add(gdstk.Label('=syn539', (3.564,0.315), layer=6, texttype=0))
b15zdnf33an1n64x5.add(gdstk.Label('=syn540', (3.996,0.315), layer=6, texttype=0))
b15zdnf33an1n64x5.add(gdstk.Label('=syn541', (4.428,0.315), layer=6, texttype=0))
b15zdnf33an1n64x5.add(gdstk.Label('=syn542', (5.076,0.315), layer=6, texttype=0))
b15zdnf33an1n64x5.add(gdstk.Label('=syn543', (5.508,0.315), layer=6, texttype=0))
b15zdnf33an1n64x5.add(gdstk.Label('=syn544', (5.94,0.315), layer=6, texttype=0))
b15zdnf33an1n64x5.add(gdstk.Label('=syn545', (6.318,0.315), layer=6, texttype=0))
b15zdnf33an1n64x5.add(gdstk.Label('=syn546', (6.588,0.315), layer=6, texttype=0))
b15zdnf33an1n64x5.add(gdstk.Label('=syn483', (0.108,0.405), layer=5, texttype=0))
b15zdnf33an1n64x5.add(gdstk.Label('=syn183', (0.108,0.1125), layer=5, texttype=0))
b15zdnf33an1n64x5.add(gdstk.Label('=syn484', (0.216,0.45), layer=5, texttype=0))
b15zdnf33an1n64x5.add(gdstk.Label('=syn460', (0.216,0.225), layer=5, texttype=0))
b15zdnf33an1n64x5.add(gdstk.Label('=syn485', (0.324,0.4725), layer=5, texttype=0))
b15zdnf33an1n64x5.add(gdstk.Label('=syn461', (0.324,0.225), layer=5, texttype=0))
b15zdnf33an1n64x5.add(gdstk.Label('=syn486', (0.54,0.5175), layer=5, texttype=0))
b15zdnf33an1n64x5.add(gdstk.Label('=syn186', (0.54,0.1125), layer=5, texttype=0))
b15zdnf33an1n64x5.add(gdstk.Label('=syn487', (0.648,0.45), layer=5, texttype=0))
b15zdnf33an1n64x5.add(gdstk.Label('=syn466', (0.648,0.1125), layer=5, texttype=0))
b15zdnf33an1n64x5.add(gdstk.Label('=syn488', (0.756,0.4725), layer=5, texttype=0))
b15zdnf33an1n64x5.add(gdstk.Label('=syn467', (0.756,0.1125), layer=5, texttype=0))
b15zdnf33an1n64x5.add(gdstk.Label('=syn489', (0.972,0.5175), layer=5, texttype=0))
b15zdnf33an1n64x5.add(gdstk.Label('=syn189', (0.972,0.1125), layer=5, texttype=0))
b15zdnf33an1n64x5.add(gdstk.Label('=syn490', (1.08,0.45), layer=5, texttype=0))
b15zdnf33an1n64x5.add(gdstk.Label('=syn475', (1.08,0.1125), layer=5, texttype=0))
b15zdnf33an1n64x5.add(gdstk.Label('=syn491', (1.188,0.4725), layer=5, texttype=0))
b15zdnf33an1n64x5.add(gdstk.Label('=syn476', (1.188,0.1125), layer=5, texttype=0))
b15zdnf33an1n64x5.add(gdstk.Label('=syn492', (1.404,0.5175), layer=5, texttype=0))
b15zdnf33an1n64x5.add(gdstk.Label('=syn192', (1.404,0.1125), layer=5, texttype=0))
b15zdnf33an1n64x5.add(gdstk.Label('=syn493', (1.512,0.45), layer=5, texttype=0))
b15zdnf33an1n64x5.add(gdstk.Label('=syn470', (1.512,0.1125), layer=5, texttype=0))
b15zdnf33an1n64x5.add(gdstk.Label('=syn494', (1.62,0.4725), layer=5, texttype=0))
b15zdnf33an1n64x5.add(gdstk.Label('=syn471', (1.62,0.1125), layer=5, texttype=0))
b15zdnf33an1n64x5.add(gdstk.Label('=syn495', (1.836,0.5175), layer=5, texttype=0))
b15zdnf33an1n64x5.add(gdstk.Label('=syn195', (1.836,0.1125), layer=5, texttype=0))
b15zdnf33an1n64x5.add(gdstk.Label('=syn496', (1.944,0.45), layer=5, texttype=0))
b15zdnf33an1n64x5.add(gdstk.Label('=syn477', (1.944,0.1125), layer=5, texttype=0))
b15zdnf33an1n64x5.add(gdstk.Label('=syn497', (2.052,0.4725), layer=5, texttype=0))
b15zdnf33an1n64x5.add(gdstk.Label('=syn478', (2.052,0.1125), layer=5, texttype=0))
b15zdnf33an1n64x5.add(gdstk.Label('=syn498', (2.268,0.5175), layer=5, texttype=0))
b15zdnf33an1n64x5.add(gdstk.Label('=syn200', (2.268,0.1125), layer=5, texttype=0))
b15zdnf33an1n64x5.add(gdstk.Label('=syn499', (2.376,0.45), layer=5, texttype=0))
b15zdnf33an1n64x5.add(gdstk.Label('=syn419', (2.376,0.1125), layer=5, texttype=0))
b15zdnf33an1n64x5.add(gdstk.Label('=syn500', (2.484,0.4725), layer=5, texttype=0))
b15zdnf33an1n64x5.add(gdstk.Label('=syn420', (2.484,0.1125), layer=5, texttype=0))
b15zdnf33an1n64x5.add(gdstk.Label('=syn501', (2.7,0.5175), layer=5, texttype=0))
b15zdnf33an1n64x5.add(gdstk.Label('=syn204', (2.7,0.1125), layer=5, texttype=0))
b15zdnf33an1n64x5.add(gdstk.Label('=syn502', (2.808,0.45), layer=5, texttype=0))
b15zdnf33an1n64x5.add(gdstk.Label('=syn425', (2.808,0.1125), layer=5, texttype=0))
b15zdnf33an1n64x5.add(gdstk.Label('=syn503', (2.916,0.4725), layer=5, texttype=0))
b15zdnf33an1n64x5.add(gdstk.Label('=syn426', (2.916,0.1125), layer=5, texttype=0))
b15zdnf33an1n64x5.add(gdstk.Label('=syn504', (3.132,0.5175), layer=5, texttype=0))
b15zdnf33an1n64x5.add(gdstk.Label('=syn201', (3.132,0.1125), layer=5, texttype=0))
b15zdnf33an1n64x5.add(gdstk.Label('=syn505', (3.24,0.45), layer=5, texttype=0))
b15zdnf33an1n64x5.add(gdstk.Label('=syn421', (3.24,0.1125), layer=5, texttype=0))
b15zdnf33an1n64x5.add(gdstk.Label('=syn506', (3.348,0.4725), layer=5, texttype=0))
b15zdnf33an1n64x5.add(gdstk.Label('=syn422', (3.348,0.1125), layer=5, texttype=0))
b15zdnf33an1n64x5.add(gdstk.Label('=syn507', (3.564,0.5175), layer=5, texttype=0))
b15zdnf33an1n64x5.add(gdstk.Label('=syn212', (3.564,0.1125), layer=5, texttype=0))
b15zdnf33an1n64x5.add(gdstk.Label('=syn508', (3.672,0.45), layer=5, texttype=0))
b15zdnf33an1n64x5.add(gdstk.Label('=syn434', (3.672,0.1125), layer=5, texttype=0))
b15zdnf33an1n64x5.add(gdstk.Label('=syn509', (3.78,0.4725), layer=5, texttype=0))
b15zdnf33an1n64x5.add(gdstk.Label('=syn435', (3.78,0.1125), layer=5, texttype=0))
b15zdnf33an1n64x5.add(gdstk.Label('=syn510', (3.996,0.5175), layer=5, texttype=0))
b15zdnf33an1n64x5.add(gdstk.Label('=syn216', (3.996,0.1125), layer=5, texttype=0))
b15zdnf33an1n64x5.add(gdstk.Label('=syn511', (4.104,0.45), layer=5, texttype=0))
b15zdnf33an1n64x5.add(gdstk.Label('=syn443', (4.104,0.1125), layer=5, texttype=0))
b15zdnf33an1n64x5.add(gdstk.Label('=syn512', (4.212,0.4725), layer=5, texttype=0))
b15zdnf33an1n64x5.add(gdstk.Label('=syn444', (4.212,0.1125), layer=5, texttype=0))
b15zdnf33an1n64x5.add(gdstk.Label('=syn513', (4.428,0.5175), layer=5, texttype=0))
b15zdnf33an1n64x5.add(gdstk.Label('=syn223', (4.428,0.1125), layer=5, texttype=0))
b15zdnf33an1n64x5.add(gdstk.Label('=syn514', (4.536,0.45), layer=5, texttype=0))
b15zdnf33an1n64x5.add(gdstk.Label('=syn449', (4.536,0.1125), layer=5, texttype=0))
b15zdnf33an1n64x5.add(gdstk.Label('=syn515', (4.644,0.4725), layer=5, texttype=0))
b15zdnf33an1n64x5.add(gdstk.Label('=syn450', (4.644,0.1125), layer=5, texttype=0))
b15zdnf33an1n64x5.add(gdstk.Label('=syn516', (4.86,0.5175), layer=5, texttype=0))
b15zdnf33an1n64x5.add(gdstk.Label('=syn219', (4.86,0.1125), layer=5, texttype=0))
b15zdnf33an1n64x5.add(gdstk.Label('=syn517', (4.968,0.45), layer=5, texttype=0))
b15zdnf33an1n64x5.add(gdstk.Label('=syn451', (4.968,0.1125), layer=5, texttype=0))
b15zdnf33an1n64x5.add(gdstk.Label('=syn518', (5.076,0.4725), layer=5, texttype=0))
b15zdnf33an1n64x5.add(gdstk.Label('=syn452', (5.076,0.1125), layer=5, texttype=0))
b15zdnf33an1n64x5.add(gdstk.Label('=syn519', (5.292,0.5175), layer=5, texttype=0))
b15zdnf33an1n64x5.add(gdstk.Label('=syn224', (5.292,0.1125), layer=5, texttype=0))
b15zdnf33an1n64x5.add(gdstk.Label('=syn520', (5.4,0.45), layer=5, texttype=0))
b15zdnf33an1n64x5.add(gdstk.Label('=syn453', (5.4,0.1125), layer=5, texttype=0))
b15zdnf33an1n64x5.add(gdstk.Label('=syn521', (5.508,0.4725), layer=5, texttype=0))
b15zdnf33an1n64x5.add(gdstk.Label('=syn454', (5.508,0.1125), layer=5, texttype=0))
b15zdnf33an1n64x5.add(gdstk.Label('=syn522', (5.724,0.5175), layer=5, texttype=0))
b15zdnf33an1n64x5.add(gdstk.Label('=syn205', (5.724,0.225), layer=5, texttype=0))
b15zdnf33an1n64x5.add(gdstk.Label('=syn523', (5.832,0.45), layer=5, texttype=0))
b15zdnf33an1n64x5.add(gdstk.Label('=syn427', (5.832,0.1125), layer=5, texttype=0))
b15zdnf33an1n64x5.add(gdstk.Label('=syn524', (5.94,0.4725), layer=5, texttype=0))
b15zdnf33an1n64x5.add(gdstk.Label('=syn428', (5.94,0.1125), layer=5, texttype=0))
b15zdnf33an1n64x5.add(gdstk.Label('=syn525', (6.156,0.5175), layer=5, texttype=0))
b15zdnf33an1n64x5.add(gdstk.Label('=syn209', (6.156,0.225), layer=5, texttype=0))
b15zdnf33an1n64x5.add(gdstk.Label('=syn526', (6.264,0.45), layer=5, texttype=0))
b15zdnf33an1n64x5.add(gdstk.Label('=syn438', (6.264,0.1125), layer=5, texttype=0))
b15zdnf33an1n64x5.add(gdstk.Label('=syn527', (6.372,0.4725), layer=5, texttype=0))
b15zdnf33an1n64x5.add(gdstk.Label('=syn439', (6.372,0.1125), layer=5, texttype=0))
b15zdnf33an1n64x5.add(gdstk.Label('=syn528', (6.588,0.405), layer=5, texttype=0))
b15zdnf33an1n64x5.add(gdstk.Label('=syn206', (6.588,0.225), layer=5, texttype=0))
b15zdnf33an1n64x5.add(gdstk.Label('=syn529', (6.696,0.45), layer=5, texttype=0))
b15zdnf33an1n64x5.add(gdstk.Label('=syn430', (6.696,0.1125), layer=5, texttype=0))
b15zdnf33an1n64x5.add(gdstk.Label('=syn530', (6.804,0.4725), layer=5, texttype=0))
b15zdnf33an1n64x5.add(gdstk.Label('=syn431', (6.804,0.1125), layer=5, texttype=0))

lib.write_gds('b15zdnf33an1n64x5.gds')
